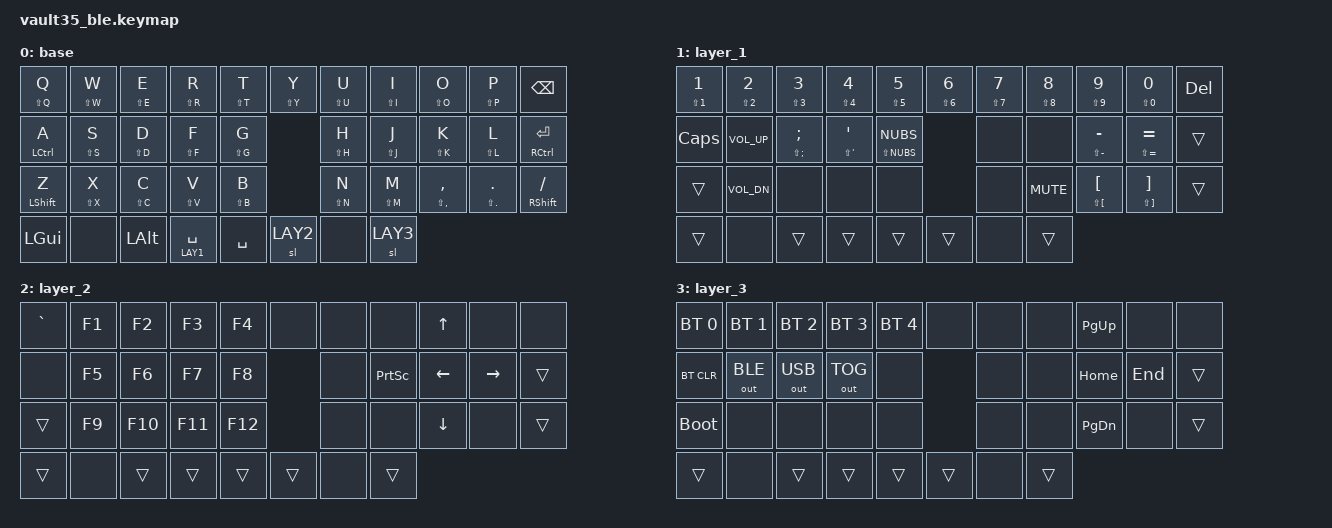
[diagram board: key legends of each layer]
#include <behaviors.dtsi>
#include <dt-bindings/zmk/keys.h>
#include <dt-bindings/zmk/bt.h>
#include <dt-bindings/zmk/outputs.h>

#define DEF 0
#define LAY1 1
#define LAY2 2
#define LAY3 3

/ {
    combos {
        compatible = "zmk,combos";
        combo_ESC {
            timeout-ms = <50>;
            key-positions = <0 1 13>;
            bindings = <&kp ESC>;
	};
    	combo_TAB {
            timeout-ms = <50>;
            key-positions = <11 12>;
            bindings = <&kp TAB>;
        };
    };
};

/ {
        behaviors {        
                hm: homerow_mods {
            		compatible = "zmk,behavior-hold-tap";
           		label = "HOMEROW_MODS";
           		bindings = <&kp>, <&kp>;

		        #binding-cells = <2>;
		        tapping-term-ms = <200>;
		        quick-tap-ms = <180>;
		        require-prior-idle-ms = <0>;
		        flavor = "tap-preferred";
               };
		ly: layers {
                        compatible = "zmk,behavior-hold-tap";
                        label = "LAYERS TAP HOLD";
                        #binding-cells = <2>;
                        tapping-term-ms = <150>;
                        quick-tap-ms = <0>;
                        flavor = "tap-preferred";
                        bindings = <&mo>, <&to>;
                };
	        /omit-if-no-ref/ sl: sticky_layer {
	            compatible = "zmk,behavior-sticky-key";
	            #binding-cells = <1>;
	            release-after-ms = <1000>;
	            bindings = <&mo>;
	            quick-release;
	            display-name = "Sticky Layer";
		};
		as: auto_shift {
	            compatible = "zmk,behavior-hold-tap";
		    label = "AUTO_SHIFT";
	            #binding-cells = <2>;
	            tapping_term_ms = <150>;
	            quick_tap_ms = <0>;
	            flavor = "tap-preferred";
	            bindings = <&kp>, <&kp>;
	        };
	};
};

/ {

    keymap {
        compatible = "zmk,keymap";

        base {
            bindings = <
                &as LS(Q) Q &as LS(W) W &as LS(E) E &as LS(R) R &as LS(T) T &as LS(Y) Y &as LS(U) U &as LS(I) I &as LS(O) O &as LS(P) P &kp BSPC
                &hm LEFT_CONTROL A   &as LS(S) S &as LS(D) D &as LS(F) F &as LS(G) G &as LS(H) H &as LS(J) J &as LS(K) K &as LS(L) L &hm RIGHT_CONTROL ENTER
                &mt LSHIFT Z          &as LS(X) X &as LS(C) C &as LS(V) V &as LS(B) B &as LS(N) N &as LS(M) M &as LS(COMMA) COMMA &as LS(PERIOD) PERIOD  &mt RSHIFT SLASH
                &kp LGUI       &none       &kp LALT         &lt LAY1 SPACE        &kp SPACE        &sl LAY2         &none          &sl LAY3
            >;
        };

        layer_1 {
            bindings = <
                &as LS(N1) N1 &as LS(N2) N2 &as LS(N3) N3 &as LS(N4) N4 &as LS(N5) N5 &as LS(N6) N6 &as LS(N7) N7 &as LS(N8) N8 &as LS(N9) N9 &as LS(N0) N0 &kp DEL
                &kp CAPS   &kp C_VOL_UP  &as LS(SEMI) SEMI &as LS(APOS) APOS &as LS(NUBS) NUBS  &none  &none  &as LS(MINUS) MINUS &as LS(EQUAL) EQUAL  &trans
                &trans     &kp C_VOL_DN  &none     &none     &none     &none  &kp C_MUTE  &as LS(LBKT) LBKT &as LS(RBKT) RBKT   &trans
                &trans      &none    &trans    &trans    &trans    &trans          &none      &trans
            >;
        };

        layer_2 {
            bindings = <
                &kp GRAVE  &kp F1  &kp F2  &kp F3  &kp F4  &none  &none  &none  &kp UP  &none  &none
                &none      &kp F5  &kp F6  &kp F7  &kp F8  &none  &kp PSCRN   &kp LEFT  &kp RIGHT   &trans        
                &trans     &kp F9  &kp F10  &kp F11  &kp F12  &none    &none   &kp DOWN  &none  &trans
                &trans      &none    &trans    &trans    &trans    &trans          &none      &trans
            >;
        };

        layer_3 {
            bindings = <
                &bt BT_SEL 0  &bt BT_SEL 1  &bt BT_SEL 2  &bt BT_SEL 3  &bt BT_SEL 4  &none &none &none &kp PG_UP &none &none
                &bt BT_CLR    &out OUT_BLE  &out OUT_USB  &out OUT_TOG  &none         &none &none   &kp HOME  &kp END   &trans        
                &bootloader   &none         &none         &none         &none         &none &none   &kp PG_DN &none &trans
                &trans      &none    &trans    &trans    &trans    &trans          &none      &trans
            >;
        };
    };
};
